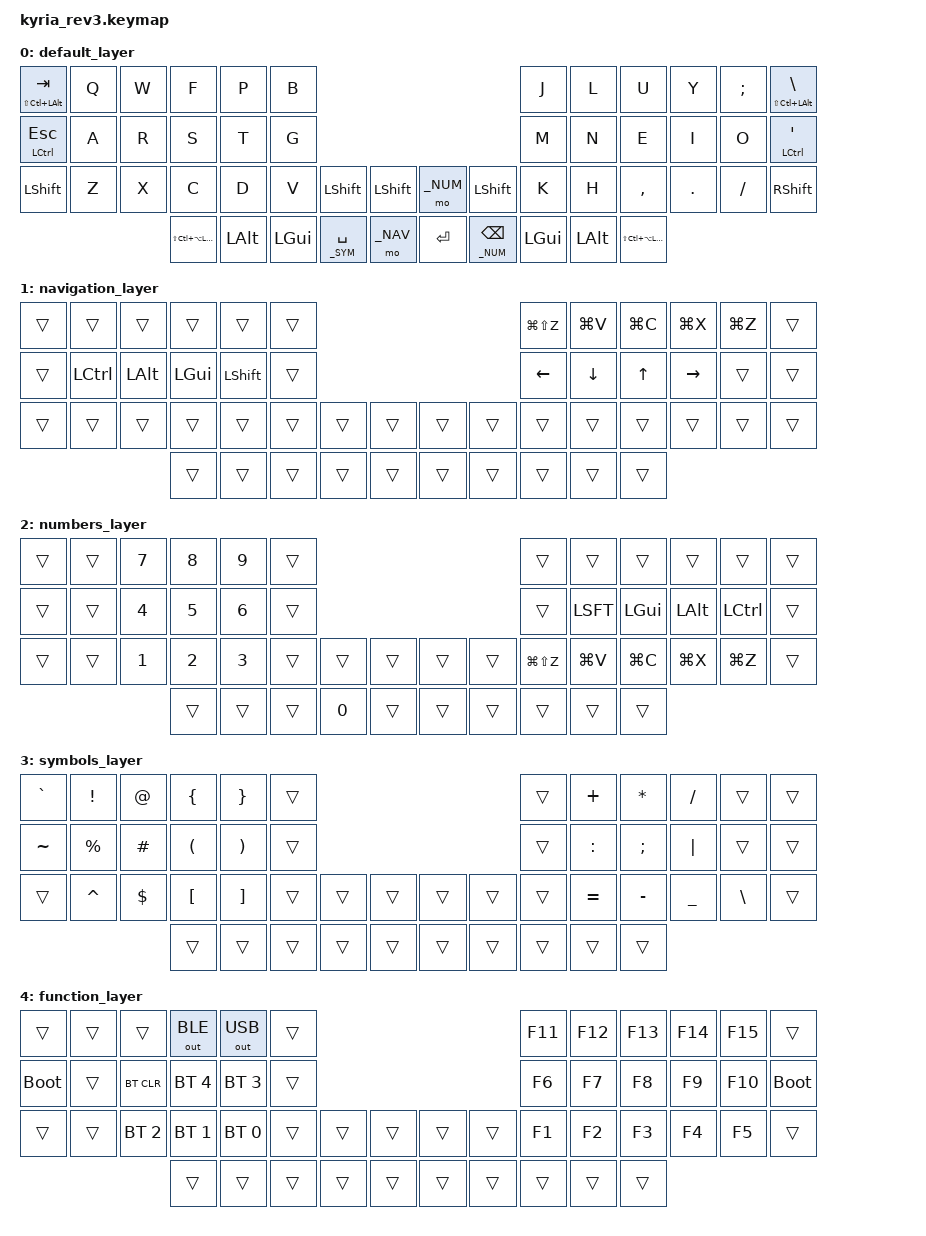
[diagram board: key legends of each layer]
/*
 * Copyright (c) 2023 The ZMK Contributors
 *
 * SPDX-License-Identifier: MIT
 */

#include <behaviors.dtsi>
#include <dt-bindings/zmk/bt.h>
#include <dt-bindings/zmk/keys.h>
#include <dt-bindings/zmk/outputs.h>

#define DEFAULT  0
#define _NAV     1
#define _NUM     2
#define _SYM     3
#define _FN      4

#define HYP         LS(LC(LA(LGUI)))
#define HYPER(key)  LS(LC(LA(LG(key))))
#define MEH         LS(LC(LALT))
#define MEHK(key)   LS(LC(LA(key)))

/* Uncomment this block if using RGB
&led_strip {
    chain-length = <6>;
    // chain-length = <31>; // Uncomment if using both per-key and underglow LEDs
    // chain-length = <25>; // Uncomment if using only per-key LEDs.
};
 */

&lt {
    quick-tap-ms = <150>;
};

&mt {
    quick-tap-ms = <150>;
};

/ {
    keymap {
        compatible = "zmk,keymap";

        default_layer {
            // ---------------------------------------------------------------------------------------------------------------------------------
            // |  ESC  |  Q  |  W  |  E   |  R   |  T   |                                          |  Y   |  U    |  I    |  O   |   P   |   \  |
            // |  TAB  |  A  |  S  |  D   |  F   |  G   |                                          |  H   |  J    |  K    |  L   |   ;   |   '  |
            // | SHIFT |  Z  |  X  |  C   |  V   |  B   | L SHIFT | L SHIFT |  | LAYER 1 | L SHIFT |  N   |  M    |  ,    |  .   |   /   | CTRL |
            //                     | GUI  | DEL  | RET  |  SPACE  |   ESC   |  |   RET   |  SPACE  | TAB  | BSPC  | R-ALT |
            bindings = <
            &mt MEH TAB     &kp Q    &kp W    &kp F       &kp P       &kp B                                                                    &kp J    &kp L      &kp U       &kp Y     &kp SEMI    &mt MEH BSLH
            &mt LCTRL ESC   &kp A    &kp R    &kp S       &kp T       &kp G                                                                    &kp M    &kp N      &kp E       &kp I     &kp O       &mt LCTRL SQT
            &kp LSHFT       &kp Z    &kp X    &kp C       &kp D       &kp V    &kp LSHFT        &kp LSHFT      &mo _NUM        &kp LSHFT       &kp K    &kp H      &kp COMMA   &kp DOT   &kp FSLH    &kp RSHFT
                                              &kp HYP     &kp LALT    &kp LGUI &lt _SYM SPACE   &mo _NAV       &kp RET    &lt _NUM BSPC   &kp LGUI &kp LALT   &kp HYP
            >;
        };

        navigation_layer {
            // ---------------------------------------------------------------------------------------------------------------------------------
            // |       |      |BT_CLR|BTSEL0|BTSEL1|BTSEL2|                                         |      |      |      |      |      |      |
            // |       |      |      |BTSEL3|BTSEL4|      |                                         |      |      |      |      |      |      |
            // |       |      |      |      |      |      |      |      |      |      |      |      |      |      |      |      |      |      |
            //                       |      |      |      |      |      |      |      |      |      |      |      |      |
            bindings = <
            &trans      &trans      &trans   &trans   &trans   &trans                                            &kp LG(LS(Z))   &kp LG(V)   &kp LG(C)   &kp LG(X)   &kp LG(Z)   &trans
            &trans      &kp LCTRL   &kp LALT   &kp LGUI   &kp LSHFT   &trans                                     &kp LEFT        &kp DOWN    &kp UP      &kp RIGHT   &trans      &trans
            &trans      &trans      &trans   &trans   &trans   &trans   &trans   &trans        &trans   &trans   &trans          &trans      &trans      &trans      &trans      &trans
                                             &trans   &trans   &trans   &trans   &trans        &trans   &trans   &trans          &trans      &trans
            >;
        };

        numbers_layer {
            // ---------------------------------------------------------------------------------------------------------------------------------
            // |       |      |BT_CLR|BTSEL0|BTSEL1|BTSEL2|                                         |      |      |      |      |      |      |
            // |       |      |      |BTSEL3|BTSEL4|      |                                         |      |      |      |      |      |      |
            // |       |      |      |      |      |      |      |      |      |      |      |      |      |      |      |      |      |      |
            //                       |      |      |      |      |      |      |      |      |      |      |      |      |
            bindings = <
            &trans      &trans   &kp N7   &kp N8   &kp N9   &trans                                            &trans          &trans   &trans   &trans   &trans   &trans
            &trans      &trans   &kp N4   &kp N5   &kp N6   &trans                                            &trans          &kp LSFT    &kp LGUI    &kp LALT    &kp LCTRL   &trans
            &trans      &trans   &kp N1   &kp N2   &kp N3   &trans   &trans   &trans        &trans   &trans   &kp LG(LS(Z))   &kp LG(V)   &kp LG(C)   &kp LG(X)   &kp LG(Z)   &trans
                                          &trans   &trans   &trans   &kp N0   &trans        &trans   &trans   &trans          &trans      &trans
            >;
        };

        symbols_layer {
            // ---------------------------------------------------------------------------------------------------------------------------------
            // |       |      |BT_CLR|BTSEL0|BTSEL1|BTSEL2|                                         |      |      |      |      |      |      |
            // |       |      |      |BTSEL3|BTSEL4|      |                                         |      |      |      |      |      |      |
            // |       |      |      |      |      |      |      |      |      |      |      |      |      |      |      |      |      |      |
            //                       |      |      |      |      |      |      |      |      |      |      |      |      |
            bindings = <
            &kp GRAVE   &kp EXCL  &kp AT   &kp LBRC   &kp RBRC   &trans                                            &trans    &kp PLUS    &kp STAR    &kp SLASH   &trans    &trans
            &kp TILDE   &kp PRCNT &kp HASH &kp LPAR   &kp RPAR   &trans                                            &trans    &kp COLON   &kp SEMI    &kp PIPE    &trans    &trans
            &trans      &kp CARET &kp DLLR &kp LBKT   &kp RBKT   &trans   &trans   &trans        &trans   &trans   &trans    &kp EQUAL   &kp MINUS   &kp UNDER   &kp BSLH  &trans
                                           &trans     &trans     &trans   &trans   &trans        &trans   &trans   &trans    &trans      &trans
            >;
        };

        function_layer {
            // ---------------------------------------------------------------------------------------------------------------------------------
            // |       |      |BT_CLR|BTSEL0|BTSEL1|BTSEL2|                                         |      |      |      |      |      |      |
            // |       |      |      |BTSEL3|BTSEL4|      |                                         |      |      |      |      |      |      |
            // |       |      |      |      |      |      |      |      |      |      |      |      |      |      |      |      |      |      |
            //                       |      |      |      |      |      |      |      |      |      |      |      |      |
            bindings = <
            &trans      &trans &trans       &out OUT_BLE &out OUT_USB &trans                                    &kp F11 &kp F12 &kp F13 &kp F14 &kp F15 &trans
            &bootloader &trans &bt BT_CLR   &bt BT_SEL 4 &bt BT_SEL 3 &trans                                    &kp F6 &kp F7 &kp F8 &kp F9 &kp F10 &bootloader
            &trans      &trans &bt BT_SEL 2 &bt BT_SEL 1 &bt BT_SEL 0 &trans &trans &trans        &trans &trans &kp F1 &kp F2 &kp F3 &kp F4 &kp F5 &trans
                                                        &trans &trans &trans &trans &trans        &trans &trans &trans &trans &trans
            >;
        };
    };

    conditional_layers {
        compatible = "zmk,conditional-layers";
        fn_tri_layer {
            if-layers = <_SYM _NUM>;
            then-layer = <_FN>;
        };
    };

    // behaviors {
    //     ht: hold_tap {
    //         compatible = "zmk,behavior-hold-tap";
    //         label = "HOLD_TAP";
    //         #binding-cells = <2>;
    //         flavor = "balanced";
    //         tapping-term-ms = <200>;
    //         bindings = <&kp>, <&kp>;
    //     };

    //     lht: layer_hold_tap {
    //         compatible = "zmk,behavior-hold-tap";
    //         label = "LAYER_TAP";
    //         #binding-cells = <2>;
    //         flavor = "hold-preferred";
    //         tapping-term-ms = <200>;
    //         quick-tap-ms = <150>;
    //         bindings = <&kp>, <&kp>;
    //     };
    // };
};
